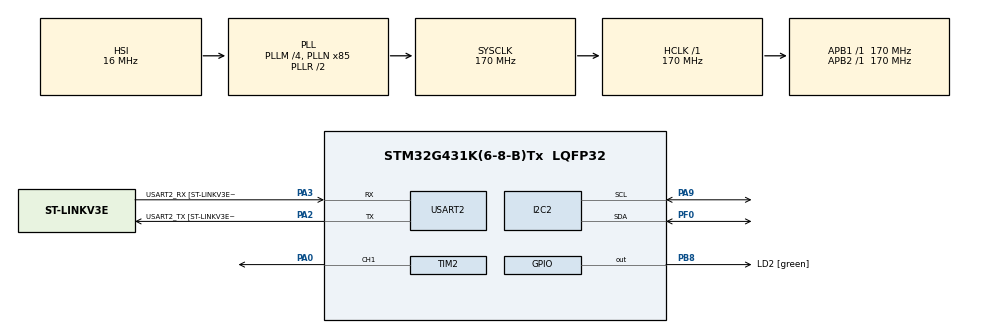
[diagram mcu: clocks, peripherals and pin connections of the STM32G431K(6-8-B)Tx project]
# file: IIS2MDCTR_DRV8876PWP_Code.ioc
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I2C2.Timing=0x30A0A7FB
Mcu.Family=STM32G4
Mcu.Name=STM32G431K(6-8-B)Tx
Mcu.Package=LQFP32
NVIC.PriorityGroup=NVIC_PRIORITYGROUP_4
PA0.Signal=S_TIM2_CH1
PA13.GPIO_Label=T_SWDIO
PA13.Mode=Serial_Wire
PA13.Signal=SYS_JTMS-SWDIO
PA14.GPIO_Label=T_SWCLK
PA14.Mode=Serial_Wire
PA14.Signal=SYS_JTCK-SWCLK
PA2.GPIO_Label=USART2_TX [ST-LINKV3E_VCP_RX]
PA2.Mode=Asynchronous
PA2.Signal=USART2_TX
PA3.GPIO_Label=USART2_RX [ST-LINKV3E_VCP_TX]
PA3.Mode=Asynchronous
PA3.Signal=USART2_RX
PA9.Mode=I2C
PA9.Signal=I2C2_SCL
PB3.GPIO_Label=T_SWO
PB3.Signal=SYS_JTDO-SWO
PB7.Signal=I2C1_SDA
PB8-BOOT0.GPIO_Label=LD2 [green]
PB8-BOOT0.Signal=GPIO_Output
PF0-OSC_IN.Mode=I2C
PF0-OSC_IN.Signal=I2C2_SDA
ProjectManager.HeapSize=0x200
ProjectManager.StackSize=0x400
ProjectManager.TargetToolchain=STM32CubeIDE
RCC.ADC12Freq_Value=170000000
RCC.AHBFreq_Value=170000000
RCC.APB1Freq_Value=170000000
RCC.APB1TimFreq_Value=170000000
RCC.APB2Freq_Value=170000000
RCC.APB2TimFreq_Value=170000000
RCC.CortexFreq_Value=170000000
RCC.EXTERNAL_CLOCK_VALUE=12288000
RCC.HCLKFreq_Value=170000000
RCC.HSE_VALUE=8000000
RCC.HSI48_VALUE=48000000
RCC.HSI_VALUE=16000000
RCC.LSE_VALUE=32768
RCC.PLLM=RCC_PLLM_DIV4
RCC.PLLN=85
RCC.SYSCLKFreq_VALUE=170000000
RCC.SYSCLKSource=RCC_SYSCLKSOURCE_PLLCLK
RCC.USBFreq_Value=170000000
RCC.VCOOutputFreq_Value=340000000
SH.S_TIM2_CH1.0=TIM2_CH1,PWM Generation1 CH1
TIM2.Channel-PWM\ Generation1\ CH1=TIM_CHANNEL_1
USART2.VirtualMode-Asynchronous=VM_ASYNC
USART2.WordLength=WORDLENGTH_8B
board=NUCLEO-G431KB

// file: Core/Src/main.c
/* USER CODE BEGIN Header */
/**
  ******************************************************************************
  * @file           : main.c
  * @brief          : Main program body
  ******************************************************************************
  * @attention
  *
  * Copyright (c) 2023 STMicroelectronics.
  * All rights reserved.
  *
  * This software is licensed under terms that can be found in the LICENSE file
  * in the root directory of this software component.
  * If no LICENSE file comes with this software, it is provided AS-IS.
  *
  ******************************************************************************
  */
/* USER CODE END Header */
#include "main.h"

/* USER CODE BEGIN Includes */
#include <string.h>
#include <stdio.h>
#include <math.h>
#include <stdlib.h>
/* USER CODE END Includes */

/* USER CODE BEGIN PD */
#define IIS2_ADDR 0x1E<<1
#define OUTX_L 0x68
#define OUTY_L 0x6A
#define OUTZ_L 0x6C
#define CFG_REG_A 0x60
#define CFG_REG_B 0x61
#define CFG_REG_C 0x62

/* USER CODE END PD */

I2C_HandleTypeDef hi2c2;

TIM_HandleTypeDef htim2;

UART_HandleTypeDef huart2;

void SystemClock_Config(void);
static void MX_GPIO_Init(void);
static void MX_USART2_UART_Init(void);
static void MX_I2C2_Init(void);
static void MX_TIM2_Init(void);
/* USER CODE BEGIN PFP */
void UART_PRINT_VAL(double value);
void UART_PRINT_TEXT(uint8_t* MSG);
void IIS2_INIT(void);
uint16_t IIS2_GET_DATA(uint8_t addr, uint16_t dataSize);
/* USER CODE END PFP */

int main(void)
{

  /* MCU Configuration--------------------------------------------------------*/

  /* Reset of all peripherals, Initializes the Flash interface and the Systick. */
  HAL_Init();

  /* Configure the system clock */
  SystemClock_Config();

  /* Initialize all configured peripherals */
  MX_GPIO_Init();
  MX_USART2_UART_Init();
  MX_I2C2_Init();
  MX_TIM2_Init();
  /* USER CODE BEGIN 2 */

  uint16_t xData = 0;
  uint16_t yData = 0;
  uint16_t zData = 0;
  double xDataRef = 0;
  double yDataRef = 0;
  double zDataRef = 0;

  HAL_TIM_PWM_Start(&htim2, TIM_CHANNEL_1);
  HAL_TIM_PWM_Start(&htim3, TIM_CHANNEL_2);
  HAL_GPIO_WritePin(GPIOA, GPIO_PIN_5, GPIO_PIN_SET);
  nFault = HAL_GPIO_ReadPin(GPIOA, GPIO_PIN_6);
  HAL_GPIO_WritePin(GPIOA, GPIO_PIN_9, GPIO_PIN_SET); // PH PIN*/

  TIM1->CCR1 = 500;
  TIM3->CCR2 = 500;
  HAL_TIM_PWM_Start(&htim2, TIM_CHANNEL_1); // EH
  HAL_TIM_PWM_Start(&htim3, TIM_CHANNEL_2);
  /* USER CODE END 2 */

  /* Infinite loop */
  /* USER CODE BEGIN WHILE */

  while (1)
  {
	  IIS2_INIT();
	  xData = IIS2_GET_DATA(OUTX_L, 2);
	  yData = IIS2_GET_DATA(OUTY_L, 2);
	  zData = IIS2_GET_DATA(OUTZ_L, 2);
	  xDataRef = xData*.15;
	  yDataRef = yData*.15;
	  zDataRef = zData*.15;
	  UART_PRINT_TEXT("xData : ");
	  UART_PRINT_VAL(xDataRef);
	  UART_PRINT_TEXT("\n");
	  HAL_Delay(5);
	  /*UART_PRINT_VAL("yData :");
	  UART_PRINT_VAL(yDataRef);
	  UART_PRINT_VAL("zData :");
	  UART_PRINT_VAL(zDataRef);*/

	  HAL_ADC_Start(&hadc2);
	  HAL_ADC_Start(&hadc1);
	  adc2_val = HAL_ADC_GetValue(&hadc2);
	  adc1_val = HAL_ADC_GetValue(&hadc1);
	  adc2_value = adc2_val;
	  adc1_value = adc1_val;

	  if(adc2_value < 2048){ // direction 0
		  HAL_GPIO_WritePin(GPIOA, GPIO_PIN_9, GPIO_PIN_SET);
		  pwm_val = 1000.0 * ((2048.0 - adc2_value) / 2048.0);
		  __HAL_TIM_SET_COMPARE(&htim2, TIM_CHANNEL_1, pwm_val);
	  }
	  else{ //direction 1
		  HAL_GPIO_WritePin(GPIOA, GPIO_PIN_9, GPIO_PIN_RESET);
		  pwm_val = 1000.0 * ((adc2_value - 2048.0) / 2048.0);
		  __HAL_TIM_SET_COMPARE(&htim2, TIM_CHANNEL_1, pwm_val);
	  }

	  if(dir){
		  HAL_GPIO_WritePin(GPIOA, GPIO_PIN_4, GPIO_PIN_SET);
		  pwm_val = 1000.0 * ((adc2_value - 2048.0) / 2048.0);
	  }
	  else{
		  HAL_GPIO_WritePin(GPIOA, GPIO_PIN_4, GPIO_PIN_RESET);
		  pwm_val = 1000.0 * ((2048.0 - adc2_value) / 2048.0);
	  }
	  __HAL_TIM_SET_COMPARE(&htim2, TIM_CHANNEL_1, pwm_val);
	  if(!HAL_GPIO_ReadPin(GPIOA, GPIO_PIN_8)){
		  HAL_GPIO_WritePin(GPIOA, GPIO_PIN_6, GPIO_PIN_SET);
	  }
	  else{
		  HAL_GPIO_WritePin(GPIOA, GPIO_PIN_6, GPIO_PIN_RESET);
	  }
	 UART_PRINT_TEXT("\nADC reading: ");
	 UART_PRINT_VAL(adc1_value);
    /* USER CODE END WHILE */

  }
}

void SystemClock_Config(void)
{
  RCC_OscInitTypeDef RCC_OscInitStruct = {0};
  RCC_ClkInitTypeDef RCC_ClkInitStruct = {0};

  /** Configure the main internal regulator output voltage
  */
  HAL_PWREx_ControlVoltageScaling(PWR_REGULATOR_VOLTAGE_SCALE1_BOOST);

  /** Initializes the RCC Oscillators according to the specified parameters
  * in the RCC_OscInitTypeDef structure.
  */
  RCC_OscInitStruct.OscillatorType = RCC_OSCILLATORTYPE_HSI;
  RCC_OscInitStruct.HSIState = RCC_HSI_ON;
  RCC_OscInitStruct.HSICalibrationValue = RCC_HSICALIBRATION_DEFAULT;
  RCC_OscInitStruct.PLL.PLLState = RCC_PLL_ON;
  RCC_OscInitStruct.PLL.PLLSource = RCC_PLLSOURCE_HSI;
  RCC_OscInitStruct.PLL.PLLM = RCC_PLLM_DIV4;
  RCC_OscInitStruct.PLL.PLLN = 85;
  RCC_OscInitStruct.PLL.PLLP = RCC_PLLP_DIV2;
  RCC_OscInitStruct.PLL.PLLQ = RCC_PLLQ_DIV2;
  RCC_OscInitStruct.PLL.PLLR = RCC_PLLR_DIV2;
  if (HAL_RCC_OscConfig(&RCC_OscInitStruct) != HAL_OK)
  {
    Error_Handler();
  }

  /** Initializes the CPU, AHB and APB buses clocks
  */
  RCC_ClkInitStruct.ClockType = RCC_CLOCKTYPE_HCLK|RCC_CLOCKTYPE_SYSCLK
                              |RCC_CLOCKTYPE_PCLK1|RCC_CLOCKTYPE_PCLK2;
  RCC_ClkInitStruct.SYSCLKSource = RCC_SYSCLKSOURCE_PLLCLK;
  RCC_ClkInitStruct.AHBCLKDivider = RCC_SYSCLK_DIV1;
  RCC_ClkInitStruct.APB1CLKDivider = RCC_HCLK_DIV1;
  RCC_ClkInitStruct.APB2CLKDivider = RCC_HCLK_DIV1;

  if (HAL_RCC_ClockConfig(&RCC_ClkInitStruct, FLASH_LATENCY_4) != HAL_OK)
  {
    Error_Handler();
  }
}

static void MX_I2C2_Init(void)
{

  hi2c2.Instance = I2C2;
  hi2c2.Init.Timing = 0x30A0A7FB;
  hi2c2.Init.OwnAddress1 = 0;
  hi2c2.Init.AddressingMode = I2C_ADDRESSINGMODE_7BIT;
  hi2c2.Init.DualAddressMode = I2C_DUALADDRESS_DISABLE;
  hi2c2.Init.OwnAddress2 = 0;
  hi2c2.Init.OwnAddress2Masks = I2C_OA2_NOMASK;
  hi2c2.Init.GeneralCallMode = I2C_GENERALCALL_DISABLE;
  hi2c2.Init.NoStretchMode = I2C_NOSTRETCH_DISABLE;
  if (HAL_I2C_Init(&hi2c2) != HAL_OK)
  {
    Error_Handler();
  }

  /** Configure Analogue filter
  */
  if (HAL_I2CEx_ConfigAnalogFilter(&hi2c2, I2C_ANALOGFILTER_ENABLE) != HAL_OK)
  {
    Error_Handler();
  }

  /** Configure Digital filter
  */
  if (HAL_I2CEx_ConfigDigitalFilter(&hi2c2, 0) != HAL_OK)
  {
    Error_Handler();
  }

}

static void MX_TIM2_Init(void)
{

  TIM_MasterConfigTypeDef sMasterConfig = {0};
  TIM_OC_InitTypeDef sConfigOC = {0};

  htim2.Instance = TIM2;
  htim2.Init.Prescaler = 0;
  htim2.Init.CounterMode = TIM_COUNTERMODE_UP;
  htim2.Init.Period = 4.294967295E9;
  htim2.Init.ClockDivision = TIM_CLOCKDIVISION_DIV1;
  htim2.Init.AutoReloadPreload = TIM_AUTORELOAD_PRELOAD_DISABLE;
  if (HAL_TIM_PWM_Init(&htim2) != HAL_OK)
  {
    Error_Handler();
  }
  sMasterConfig.MasterOutputTrigger = TIM_TRGO_RESET;
  sMasterConfig.MasterSlaveMode = TIM_MASTERSLAVEMODE_DISABLE;
  if (HAL_TIMEx_MasterConfigSynchronization(&htim2, &sMasterConfig) != HAL_OK)
  {
    Error_Handler();
  }
  sConfigOC.OCMode = TIM_OCMODE_PWM1;
  sConfigOC.Pulse = 0;
  sConfigOC.OCPolarity = TIM_OCPOLARITY_HIGH;
  sConfigOC.OCFastMode = TIM_OCFAST_DISABLE;
  if (HAL_TIM_PWM_ConfigChannel(&htim2, &sConfigOC, TIM_CHANNEL_1) != HAL_OK)
  {
    Error_Handler();
  }
  HAL_TIM_MspPostInit(&htim2);

}

static void MX_USART2_UART_Init(void)
{

  huart2.Instance = USART2;
  huart2.Init.BaudRate = 115200;
  huart2.Init.WordLength = UART_WORDLENGTH_8B;
  huart2.Init.StopBits = UART_STOPBITS_1;
  huart2.Init.Parity = UART_PARITY_NONE;
  huart2.Init.Mode = UART_MODE_TX_RX;
  huart2.Init.HwFlowCtl = UART_HWCONTROL_NONE;
  huart2.Init.OverSampling = UART_OVERSAMPLING_16;
  huart2.Init.OneBitSampling = UART_ONE_BIT_SAMPLE_DISABLE;
  huart2.Init.ClockPrescaler = UART_PRESCALER_DIV1;
  huart2.AdvancedInit.AdvFeatureInit = UART_ADVFEATURE_NO_INIT;
  if (HAL_UART_Init(&huart2) != HAL_OK)
  {
    Error_Handler();
  }
  if (HAL_UARTEx_SetTxFifoThreshold(&huart2, UART_TXFIFO_THRESHOLD_1_8) != HAL_OK)
  {
    Error_Handler();
  }
  if (HAL_UARTEx_SetRxFifoThreshold(&huart2, UART_RXFIFO_THRESHOLD_1_8) != HAL_OK)
  {
    Error_Handler();
  }
  if (HAL_UARTEx_DisableFifoMode(&huart2) != HAL_OK)
  {
    Error_Handler();
  }

}

static void MX_GPIO_Init(void)
{
  GPIO_InitTypeDef GPIO_InitStruct = {0};

  /* GPIO Ports Clock Enable */
  __HAL_RCC_GPIOF_CLK_ENABLE();
  __HAL_RCC_GPIOA_CLK_ENABLE();
  __HAL_RCC_GPIOB_CLK_ENABLE();

  /*Configure GPIO pin Output Level */
  HAL_GPIO_WritePin(LD2_GPIO_Port, LD2_Pin, GPIO_PIN_RESET);

  /*Configure GPIO pin : PB7 */
  GPIO_InitStruct.Pin = GPIO_PIN_7;
  GPIO_InitStruct.Mode = GPIO_MODE_AF_OD;
  GPIO_InitStruct.Pull = GPIO_NOPULL;
  GPIO_InitStruct.Speed = GPIO_SPEED_FREQ_LOW;
  GPIO_InitStruct.Alternate = GPIO_AF4_I2C1;
  HAL_GPIO_Init(GPIOB, &GPIO_InitStruct);

  /*Configure GPIO pin : LD2_Pin */
  GPIO_InitStruct.Pin = LD2_Pin;
  GPIO_InitStruct.Mode = GPIO_MODE_OUTPUT_PP;
  GPIO_InitStruct.Pull = GPIO_NOPULL;
  GPIO_InitStruct.Speed = GPIO_SPEED_FREQ_LOW;
  HAL_GPIO_Init(LD2_GPIO_Port, &GPIO_InitStruct);

}

/* USER CODE BEGIN 4 */
void UART_PRINT_VAL(double value){
    char total[50];
    char temp[10];
    if(value < 0){
       UART_PRINT_TEXT("-");
    }
    sprintf(total, "%i", abs((int)value));
    strcat(total, ".");
    double currentVal = (value - (int) value);
    for(int a=0;a<6;a++){
        currentVal *= 10;
        sprintf(temp, "%i", abs((int)currentVal));
        strcat(total, temp);
        currentVal -= (int)currentVal;
    }
    HAL_UART_Transmit(&huart2, total, strlen(total), 100);
}
void UART_PRINT_TEXT(uint8_t* MSG){
	HAL_UART_Transmit(&huart2, MSG, strlen(MSG), 100);
}

void IIS2_INIT(void){
	uint8_t data[3] = {0x8C, 0x01, 0x01}; // OPERATION MODE, TEM COMP 100Hz CONTINUOUS MODE, ENABLE LPF, DATA READY INT
	HAL_I2C_Mem_Write(&hi2c2, IIS2_ADDR, CFG_REG_A, 1, data[0], 1, 100); // TEMP COMP, 100Hz, CONTINUOUS MODE
	HAL_I2C_Mem_Write(&hi2c2, IIS2_ADDR, CFG_REG_B, 1, data[1], 1, 100); // ENABLE LPF
	HAL_I2C_Mem_Write(&hi2c2, IIS2_ADDR, CFG_REG_C, 1, data[2], 1, 100); // DATA READY INT

}
uint16_t IIS2_GET_DATA(uint8_t addr, uint16_t dataSize){
	uint16_t val = 0;
	uint16_t value = 0;
	uint8_t receiveData[dataSize];
	HAL_I2C_Mem_Read(&hi2c2, IIS2_ADDR, addr, 1, receiveData, dataSize, 100);
	value = (receiveData[1] << 8 | receiveData[0]);
	if(value > 0x7fff){
		val = ~value;
	}
	else{
		val = value;
	}
	return val;
}
/* USER CODE END 4 */

void Error_Handler(void)
{
  __disable_irq();
  while (1)
  {
  }
}
